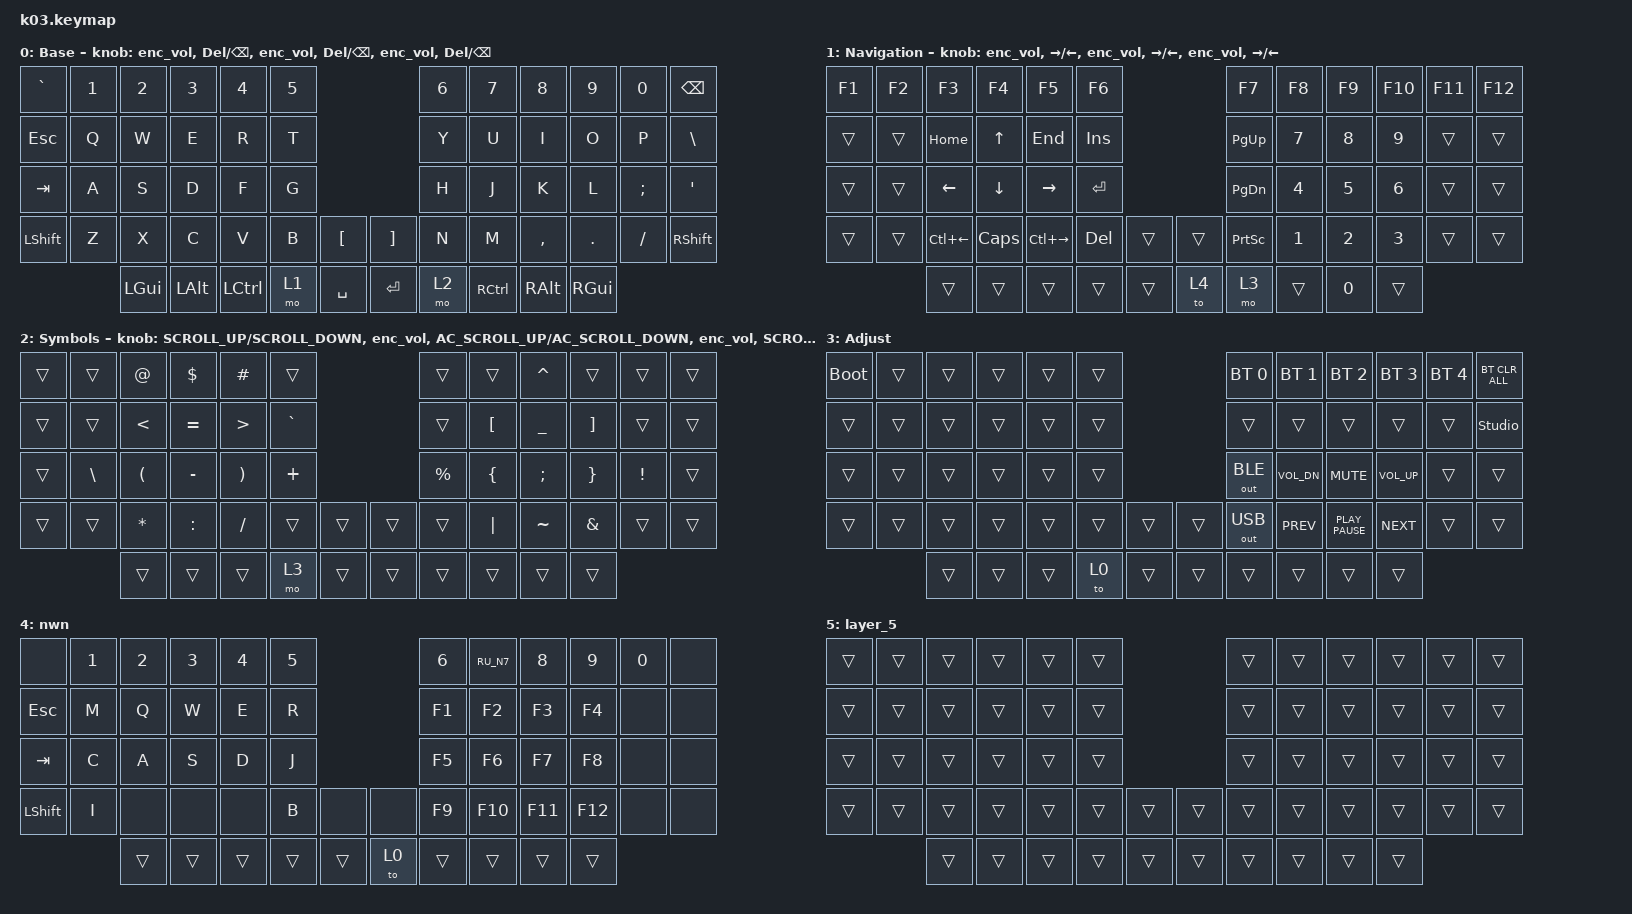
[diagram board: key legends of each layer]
#include "keys_ru.h"
#include <behaviors.dtsi>
#include <dt-bindings/zmk/bt.h>
#include <dt-bindings/zmk/keys.h>
#include <dt-bindings/zmk/outputs.h>

/ {
    behaviors {
        enc_vol: enc_vol {
            compatible = "zmk,behavior-sensor-rotate";
            label = "ENC_VOL";
            #sensor-binding-cells = <0>;
            bindings = <&kp C_VOL_UP>, <&kp C_VOL_DN>;
        };
    };

    keymap {
        compatible = "zmk,keymap";

        base {
            bindings = <
&kp GRAVE  &kp N1  &kp N2    &kp N3    &kp N4     &kp N5                          &kp N6  &kp N7     &kp N8     &kp N9         &kp N0    &kp BSPC
&kp ESC    &kp Q   &kp W     &kp E     &kp R      &kp T                           &kp Y   &kp U      &kp I      &kp O          &kp P     &kp BSLH
&kp TAB    &kp A   &kp S     &kp D     &kp F      &kp G                           &kp H   &kp J      &kp K      &kp L          &kp SEMI  &kp SQT
&kp LSHFT  &kp Z   &kp X     &kp C     &kp V      &kp B   &kp LBKT     &kp RBKT   &kp N   &kp M      &kp COMMA  &kp DOT        &kp FSLH  &kp RSHFT
                   &kp LGUI  &kp LALT  &kp LCTRL  &mo 1   &kp SPACE    &kp ENTER  &mo 2   &kp RCTRL  &kp RALT   &kp RIGHT_GUI
            >;

            display-name = "Base";
            sensor-bindings =
                <&enc_vol>,
                <&inc_dec_kp DELETE BACKSPACE>,
                <&enc_vol>,
                <&inc_dec_kp DELETE BACKSPACE>,
                <&enc_vol>,
                <&inc_dec_kp DELETE BACKSPACE>;
        };

        nav {
            bindings = <
&kp F1  &kp F2  &kp F3        &kp F4    &kp F5         &kp F6                     &kp F7           &kp F8  &kp F9  &kp F10  &kp F11  &kp F12
&trans  &trans  &kp HOME      &kp UP    &kp END        &kp INS                    &kp PG_UP        &kp N7  &kp N8  &kp N9   &trans   &trans
&trans  &trans  &kp LEFT      &kp DOWN  &kp RIGHT      &kp RET                    &kp PG_DN        &kp N4  &kp N5  &kp N6   &trans   &trans
&trans  &trans  &kp LC(LEFT)  &kp CAPS  &kp LC(RIGHT)  &kp DEL  &trans    &trans  &kp PRINTSCREEN  &kp N1  &kp N2  &kp N3   &trans   &trans
                &trans        &trans    &trans         &trans   &trans    &to 4   &mo 3            &trans  &kp N0  &trans
            >;

            display-name = "Navigation";
            sensor-bindings =
                <&enc_vol>,
                <&inc_dec_kp RIGHT LEFT>,
                <&enc_vol>,
                <&inc_dec_kp RIGHT LEFT>,
                <&enc_vol>,
                <&inc_dec_kp RIGHT LEFT>;
        };

        sym {
            bindings = <
&trans  &trans    &kp AT    &kp DLLR   &kp HASH  &trans                       &trans     &trans    &kp CARET  &trans    &trans    &trans
&trans  &trans    &kp LT    &kp EQUAL  &kp GT    &kp GRAVE                    &trans     &kp LBKT  &kp UNDER  &kp RBKT  &trans    &trans
&trans  &kp BSLH  &kp LPAR  &kp MINUS  &kp RPAR  &kp PLUS                     &kp PRCNT  &kp LBRC  &kp SEMI   &kp RBRC  &kp EXCL  &trans
&trans  &trans    &kp STAR  &kp COLON  &kp FSLH  &trans     &trans    &trans  &trans     &kp PIPE  &kp TILDE  &kp AMPS  &trans    &trans
                  &trans    &trans     &trans    &mo 3      &trans    &trans  &trans     &trans    &trans     &trans
            >;

            display-name = "Symbols";
            sensor-bindings =
                <&inc_dec_kp K_SCROLL_UP K_SCROLL_DOWN>,
                <&enc_vol>,
                <&inc_dec_kp C_AC_SCROLL_UP C_AC_SCROLL_DOWN>,
                <&enc_vol>,
                <&inc_dec_kp K_SCROLL_UP K_SCROLL_DOWN>,
                <&enc_vol>;
        };

        adj {
            bindings = <
&bootloader  &trans  &trans  &trans  &trans  &trans                    &bt BT_SEL 0  &bt BT_SEL 1  &bt BT_SEL 2      &bt BT_SEL 3  &bt BT_SEL 4  &bt BT_CLR_ALL
&trans       &trans  &trans  &trans  &trans  &trans                    &trans        &trans        &trans            &trans        &trans        &studio_unlock
&trans       &trans  &trans  &trans  &trans  &trans                    &out OUT_BLE  &kp C_VOL_DN  &kp K_MUTE        &kp C_VOL_UP  &trans        &trans
&trans       &trans  &trans  &trans  &trans  &trans  &trans    &trans  &out OUT_USB  &kp K_PREV    &kp K_PLAY_PAUSE  &kp K_NEXT    &trans        &trans
                     &trans  &trans  &trans  &to 0   &trans    &trans  &trans        &trans        &trans            &trans
            >;

            display-name = "Adjust";
        };

        nwn {
            bindings = <
&none           &kp N1  &kp NUMBER_2  &kp NUMBER_3  &kp NUMBER_4  &kp NUMBER_5                   &kp N6  &kp RU_N7  &kp N8   &kp N9   &kp N0  &none
&kp ESC         &kp M   &kp Q         &kp W         &kp E         &kp R                          &kp F1  &kp F2     &kp F3   &kp F4   &none   &none
&kp TAB         &kp C   &kp A         &kp S         &kp D         &kp J                          &kp F5  &kp F6     &kp F7   &kp F8   &none   &none
&kp LEFT_SHIFT  &kp I   &none         &none         &none         &kp B         &none     &none  &kp F9  &kp F10    &kp F11  &kp F12  &none   &none
                        &trans        &trans        &trans        &trans        &trans    &to 0  &trans  &trans     &trans   &trans
            >;
        };

        layer_5 {
            bindings = <
&trans  &trans  &trans  &trans  &trans  &trans                    &trans  &trans  &trans  &trans  &trans  &trans
&trans  &trans  &trans  &trans  &trans  &trans                    &trans  &trans  &trans  &trans  &trans  &trans
&trans  &trans  &trans  &trans  &trans  &trans                    &trans  &trans  &trans  &trans  &trans  &trans
&trans  &trans  &trans  &trans  &trans  &trans  &trans    &trans  &trans  &trans  &trans  &trans  &trans  &trans
                &trans  &trans  &trans  &trans  &trans    &trans  &trans  &trans  &trans  &trans
            >;
        };
    };
};
